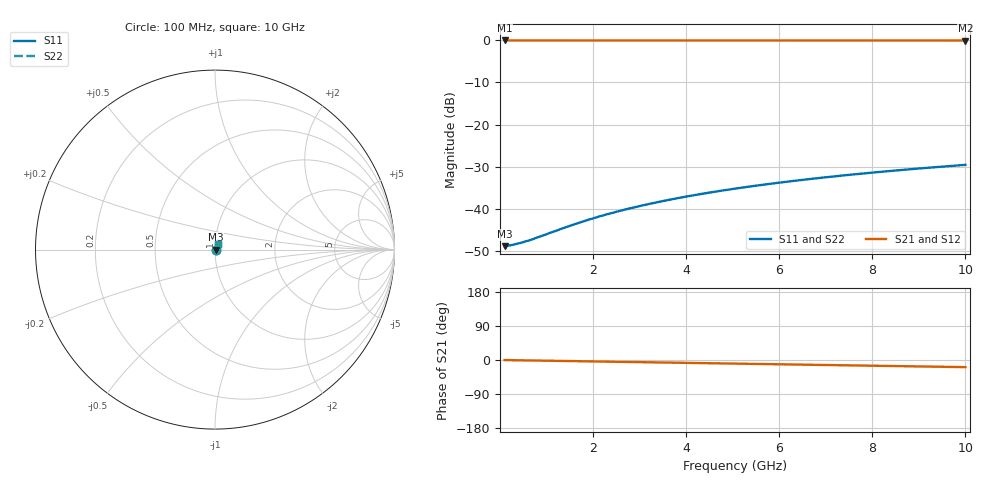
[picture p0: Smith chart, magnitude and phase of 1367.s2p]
# Hz S RI R 50.00
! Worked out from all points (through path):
!   100 points, 100 MHz to 10 GHz, reference 50 ohm
!   highest |S21| = -0.03 dB at 100 MHz (marker M1); lowest = 0.0 dB at 10 GHz (marker M2)
!   group delay of S21, straight-line fit = 5.24 ps
!   lowest |S11| = -48.9 dB at 100 MHz (marker M3), VSWR 1.01, Z = 50.4 + j0.0328 ohm
!   |S11| at or under -10 dB: start of sweep to end of sweep
!   |S22| runs from -48.9 to -29.6 dB; largest |S21 - S12| = 0
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1e8  0.00359 0.000326  0.9964 -0.00328  0.9964 -0.00328  0.00359 0.000326
2e8  0.00362 0.000651  0.9964 -0.00655  0.9964 -0.00655  0.00362 0.000651
3e8  0.00364 0.000977  0.9963 -0.00983  0.9963 -0.00983  0.00364 0.000977
4e8  0.00366 0.0013  0.9963 -0.0131  0.9963 -0.0131  0.00366 0.0013
6e8  0.0037 0.00195  0.9961 -0.0197  0.9961 -0.0197  0.0037 0.00195
8e8  0.00375 0.0026  0.9959 -0.0262  0.9959 -0.0262  0.00375 0.0026
1.4e9  0.00393 0.00455  0.9952 -0.0458  0.9952 -0.0458  0.00393 0.00455
1.8e9  0.00409 0.00584  0.9945 -0.0589  0.9945 -0.0589  0.00409 0.00584
2.2e9  0.00427 0.00713  0.9936 -0.072  0.9936 -0.072  0.00427 0.00713
2.6e9  0.00449 0.00841  0.9925 -0.085  0.9925 -0.085  0.00449 0.00841
3e9  0.00475 0.00968  0.9912 -0.0981  0.9912 -0.0981  0.00475 0.00968
3.4e9  0.00503 0.011  0.9898 -0.1111  0.9898 -0.1111  0.00503 0.011
3.8e9  0.00535 0.0122  0.9882 -0.1241  0.9882 -0.1241  0.00535 0.0122
4.2e9  0.00571 0.0135  0.9865 -0.1371  0.9865 -0.1371  0.00571 0.0135
4.6e9  0.00609 0.0147  0.9846 -0.1501  0.9846 -0.1501  0.00609 0.0147
5.1e9  0.00662 0.0162  0.9819 -0.1662  0.9819 -0.1662  0.00662 0.0162
5.9e9  0.00757 0.0187  0.9771 -0.192  0.9771 -0.192  0.00757 0.0187
6.7e9  0.00864 0.021  0.9716 -0.2176  0.9716 -0.2176  0.00864 0.021
7.5e9  0.00984 0.0233  0.9655 -0.2431  0.9655 -0.2431  0.00984 0.0233
8.4e9  0.0113 0.0258  0.9577 -0.2716  0.9577 -0.2716  0.0113 0.0258
9.2e9  0.0128 0.028  0.9501 -0.2967  0.9501 -0.2967  0.0128 0.028
1e10  0.0144 0.03  0.9419 -0.3215  0.9419 -0.3215  0.0144 0.03
